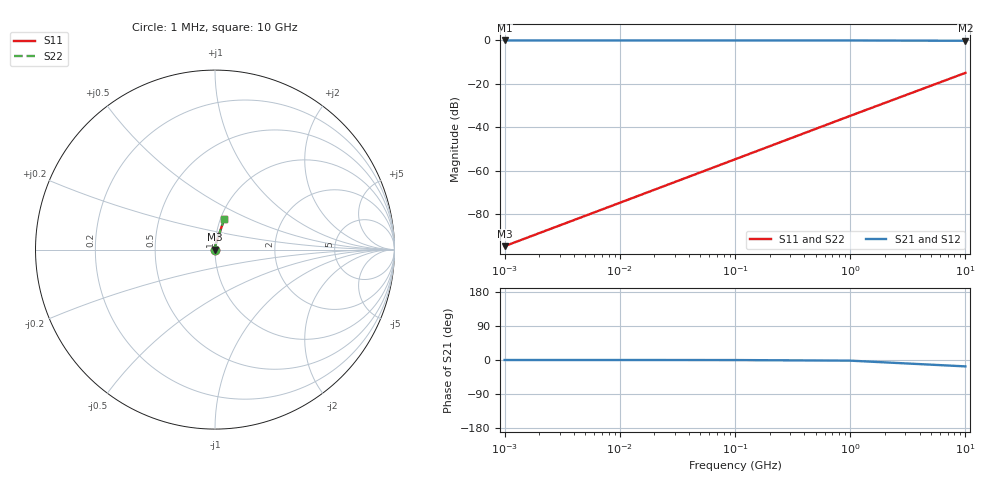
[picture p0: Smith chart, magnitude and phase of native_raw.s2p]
! Sonnet Data File
! From: em Version : 18.53-Lite
! From Project: project
! Data is NOT De-embedded
! Data File Written: 10/07/2026 08:33:11
!< HDATE 10/07/2026 08:33:11
!< MDATE 10/07/2026 08:33:11
# GHZ S RI R 50.00000
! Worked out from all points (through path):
!   5 points, 1 MHz to 10 GHz, reference 50 ohm
!   highest |S21| = 0.00 dB at 1 MHz (marker M1); lowest = -0.1 dB at 10 GHz (marker M2)
!   lowest |S11| = -94.6 dB at 1 MHz (marker M3), VSWR 1.00, Z = 50 + j0.00186 ohm
!   |S11| at or under -10 dB: start of sweep to end of sweep
!   |S22| runs from -94.6 to -14.9 dB; largest |S21 - S12| = 2.7e-12
0.001  5.55e-10 1.86e-05  1 -2.99e-05  1 -2.99e-05  5.55e-10 1.86e-05
0.01  5.5e-08 0.000185  1 -0.000298  1 -0.000298  5.5e-08 0.000185
0.1  5.5e-06 0.00185  1 -0.00298  1 -0.00298  5.5e-06 0.00185
1  0.000549 0.0185  0.9994 -0.0298  0.9994 -0.0298  0.000549 0.0185
10  0.0521 0.1719  0.9415 -0.2853  0.9415 -0.2853  0.0521 0.1719
